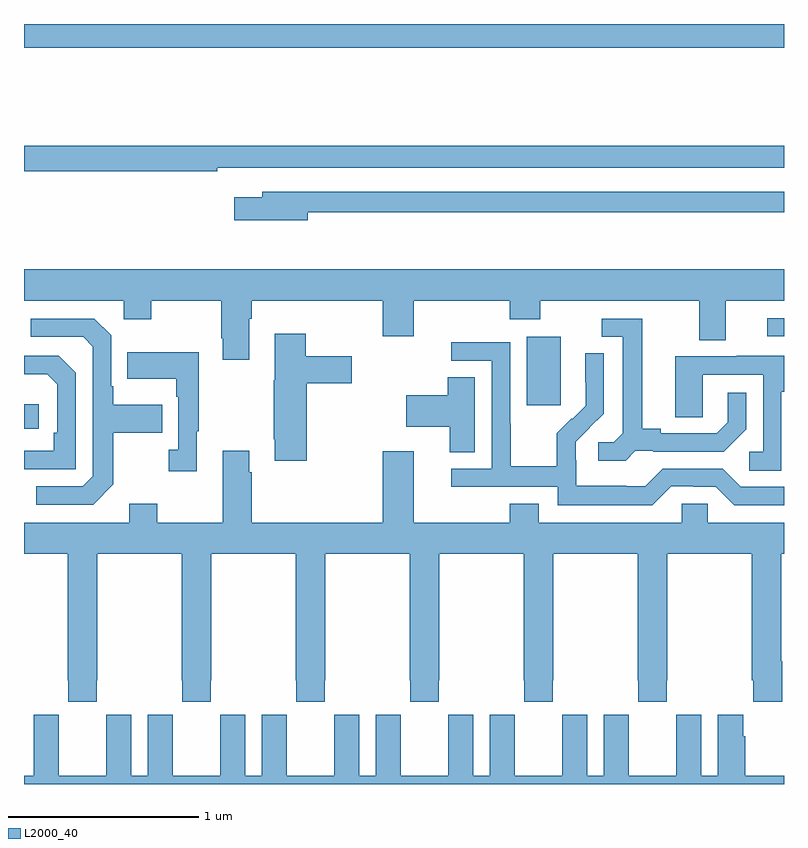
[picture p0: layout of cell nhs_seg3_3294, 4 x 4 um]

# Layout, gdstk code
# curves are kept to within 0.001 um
import gdstk
lib = gdstk.Library(unit=1e-6, precision=1e-09)
def R(c, l, rs):  # rectangles x0, y0, x1, y1
    for r in rs: c.add(gdstk.rectangle(r[:2], r[2:], *l))
def P(c, l, *ps):  # polygons
    for p in ps: c.add(gdstk.Polygon(p, *l))
L2000_40 = (2000, 40)

nhs_seg3_3294 = lib.new_cell('nhs_seg3_3294')
R(nhs_seg3_3294, L2000_40, [(283,672.27,283.078,672.4), (285.647,672.393,285.826,672.754), (286.911,672.756,287,672.852), (283,674.276,287,674.4)])
P(nhs_seg3_3294, L2000_40, [(284.018,673.644),(287,673.644),(287,673.76),(283,673.76),(283,673.624),(284.018,673.624)],
  [(284.494,673.41),(287,673.41),(287,673.518),(284.255,673.518),(284.255,673.489),(284.106,673.489),(284.106,673.367),(284.494,673.367)],
  [(283,672.944),(283.524,672.944),(283.524,672.845),(283.671,672.845),(283.671,672.944),(284.038,672.944),(284.038,672.745),(284.045,672.745),(284.045,672.633),(284.185,672.633),(284.185,672.848),(284.198,672.848),(284.198,672.944),(284.888,672.944),(284.888,672.756),(285.052,672.756),(285.052,672.944),(285.557,672.944),(285.557,672.845),(285.717,672.845),(285.717,672.944),(286.553,672.944),(286.553,672.736),(286.693,672.736),(286.693,672.944),(287,672.944),(287,673.108),(283,673.108)],
  [(283.471,671.977),(283.471,672.25),(283.727,672.25),(283.727,672.397),(283.471,672.397),(283.471,672.493),(283.458,672.493),(283.458,672.762),(283.371,672.849),(283.035,672.849),(283.035,672.753),(283.311,672.753),(283.362,672.702),(283.362,672.021),(283.308,671.967),(283.065,671.967),(283.065,671.871),(283.365,671.871)],
  [(286.218,672.153),(286.312,672.153),(286.312,672.15),(286.684,672.15),(286.8,672.266),(286.8,672.46),(286.703,672.46),(286.703,672.303),(286.646,672.246),(286.351,672.246),(286.351,672.269),(286.255,672.269),(286.255,672.849),(286.041,672.849),(286.041,672.753),(286.151,672.753),(286.151,672.245),(286.104,672.198),(286.023,672.198),(286.023,672.101),(286.166,672.101)],
  [(284.489,672.509),(284.725,672.509),(284.725,672.651),(284.484,672.651),(284.484,672.769),(284.321,672.769),(284.321,672.525),(284.314,672.525),(284.314,672.214),(284.321,672.214),(284.321,672.102),(284.489,672.102)],
  [(286.407,671.967),(286.523,671.967),(286.523,671.964),(286.641,671.964),(286.737,671.868),(287,671.868),(287,671.964),(286.773,671.964),(286.677,672.06),(286.362,672.06),(286.269,671.967),(286.169,671.967),(286.169,671.971),(285.906,671.971),(285.906,672.105),(285.904,672.105),(285.904,672.202),(286.05,672.35),(286.05,672.668),(285.954,672.668),(285.954,672.514),(285.956,672.514),(285.956,672.392),(285.885,672.321),(285.882,672.324),(285.805,672.247),(285.805,672.073),(285.561,672.073),(285.561,672.296),(285.558,672.296),(285.558,672.726),(285.249,672.726),(285.249,672.627),(285.462,672.627),(285.462,672.06),(285.249,672.06),(285.249,671.964),(285.81,671.964),(285.81,671.867),(286.307,671.867)],
  [(283.909,672.257),(283.921,672.257),(283.921,672.673),(283.543,672.673),(283.543,672.533),(283.8,672.533),(283.8,672.437),(283.812,672.437),(283.812,672.158),(283.761,672.158),(283.761,672.045),(283.909,672.045)],
  [(286.986,672.465),(287,672.465),(287,672.655),(286.751,672.655),(286.751,672.651),(286.427,672.651),(286.427,672.331),(286.572,672.331),(286.572,672.555),(286.89,672.555),(286.89,672.15),(286.818,672.15),(286.818,672.049),(286.986,672.049)],
  [(283.272,672.564),(283.182,672.654),(283,672.654),(283,672.557),(283.123,672.557),(283.176,672.504),(283.176,672.25),(283.156,672.25),(283.156,672.153),(283,672.153),(283,672.057),(283.272,672.057)],
  [(285.373,672.542),(285.23,672.542),(285.23,672.447),(285.012,672.447),(285.012,672.281),(285.242,672.281),(285.242,672.145),(285.373,672.145)],
  [(285.709,671.875),(285.557,671.875),(285.557,671.776),(285.052,671.776),(285.052,672.151),(284.888,672.151),(284.888,671.776),(284.198,671.776),(284.198,672.041),(284.185,672.041),(284.185,672.154),(284.045,672.154),(284.045,671.776),(283.701,671.776),(283.701,671.875),(283.553,671.875),(283.553,671.776),(283,671.776),(283,671.612),(283.231,671.612),(283.231,670.945),(283.233,670.945),(283.233,670.833),(283.383,670.833),(283.383,670.945),(283.386,670.945),(283.386,671.612),(283.831,671.612),(283.831,670.945),(283.833,670.945),(283.833,670.833),(283.983,670.833),(283.983,670.945),(283.986,670.945),(283.986,671.612),(284.431,671.612),(284.431,670.945),(284.433,670.945),(284.433,670.833),(284.583,670.833),(284.583,670.945),(284.586,670.945),(284.586,671.612),(285.031,671.612),(285.031,670.945),(285.033,670.945),(285.033,670.833),(285.183,670.833),(285.183,670.945),(285.186,670.945),(285.186,671.612),(285.631,671.612),(285.631,670.945),(285.633,670.945),(285.633,670.833),(285.783,670.833),(285.783,670.945),(285.786,670.945),(285.786,671.612),(286.231,671.612),(286.231,670.945),(286.233,670.945),(286.233,670.833),(286.383,670.833),(286.383,670.945),(286.386,670.945),(286.386,671.612),(286.831,671.612),(286.831,670.945),(286.837,670.945),(286.837,670.833),(286.991,670.833),(286.991,671.045),(286.986,671.045),(286.986,671.612),(287,671.612),(287,671.776),(286.599,671.776),(286.599,671.874),(286.461,671.874),(286.461,671.776),(285.709,671.776)],
  [(287,670.444),(286.796,670.444),(286.796,670.652),(286.786,670.652),(286.786,670.765),(286.652,670.765),(286.652,670.444),(286.564,670.444),(286.564,670.765),(286.434,670.765),(286.434,670.652),(286.433,670.652),(286.433,670.444),(286.183,670.444),(286.183,670.652),(286.182,670.652),(286.182,670.765),(286.052,670.765),(286.052,670.444),(285.964,670.444),(285.964,670.765),(285.834,670.765),(285.834,670.652),(285.833,670.652),(285.833,670.444),(285.583,670.444),(285.583,670.652),(285.582,670.652),(285.582,670.765),(285.452,670.765),(285.452,670.444),(285.364,670.444),(285.364,670.765),(285.234,670.765),(285.234,670.652),(285.233,670.652),(285.233,670.444),(284.983,670.444),(284.983,670.652),(284.982,670.652),(284.982,670.765),(284.852,670.765),(284.852,670.444),(284.764,670.444),(284.764,670.765),(284.634,670.765),(284.634,670.652),(284.633,670.652),(284.633,670.444),(284.383,670.444),(284.383,670.652),(284.382,670.652),(284.382,670.765),(284.252,670.765),(284.252,670.444),(284.164,670.444),(284.164,670.765),(284.034,670.765),(284.034,670.652),(284.033,670.652),(284.033,670.444),(283.783,670.444),(283.783,670.652),(283.782,670.652),(283.782,670.765),(283.652,670.765),(283.652,670.444),(283.564,670.444),(283.564,670.765),(283.434,670.765),(283.434,670.652),(283.433,670.652),(283.433,670.444),(283.183,670.444),(283.183,670.652),(283.182,670.652),(283.182,670.765),(283.052,670.765),(283.052,670.444),(283,670.444),(283,670.4),(287,670.4)])

lib.write_gds('nhs_seg3_3294.gds')
